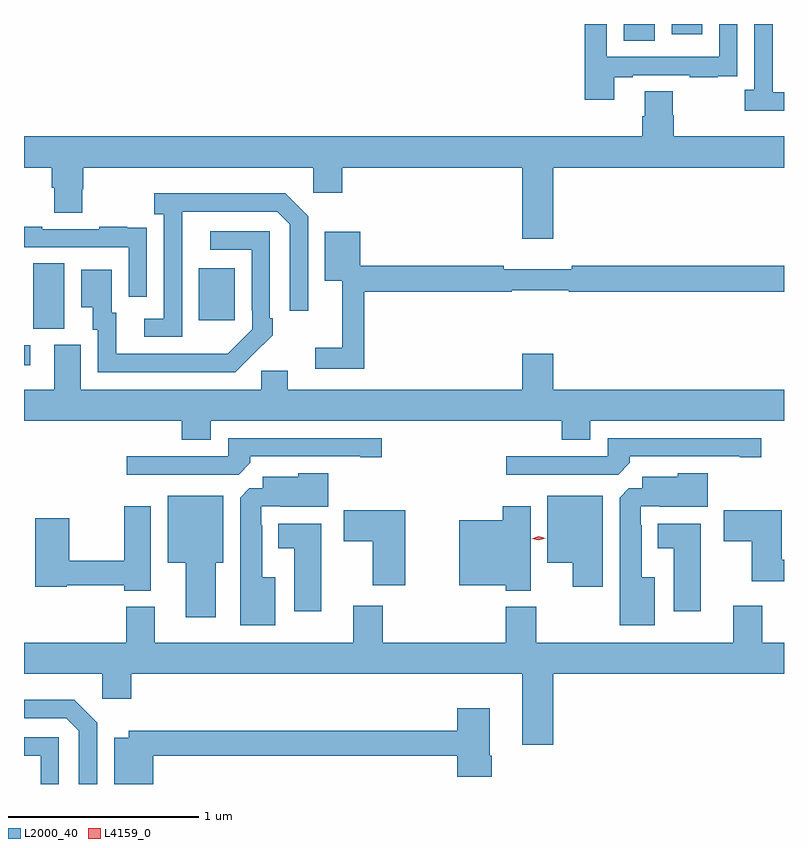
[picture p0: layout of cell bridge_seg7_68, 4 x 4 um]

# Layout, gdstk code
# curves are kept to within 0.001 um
import gdstk
lib = gdstk.Library(unit=1e-6, precision=1e-09)
def R(c, l, rs):  # rectangles x0, y0, x1, y1
    for r in rs: c.add(gdstk.rectangle(r[:2], r[2:], *l))
def P(c, l, *ps):  # polygons
    for p in ps: c.add(gdstk.Polygon(p, *l))
L2000_40 = (2000, 40)
L4159_0 = (4159, 0)

bridge_seg7_68 = lib.new_cell('bridge_seg7_68')
R(bridge_seg7_68, L2000_40, [(1085.462,1027.548,1085.494,1027.653), (1085.51,1027.741,1085.674,1028.084), (1086.383,1027.785,1086.571,1028.059), (1088.618,1029.256,1088.782,1029.344), (1088.87,1029.291,1089.031,1029.344)])
P(bridge_seg7_68, L2000_40, [(1089.462,1028.985),(1089.403,1028.985),(1089.403,1029.185),(1089.402,1029.185),(1089.402,1029.344),(1089.306,1029.344),(1089.306,1028.998),(1089.255,1028.998),(1089.255,1028.888),(1089.462,1028.888)],
  [(1088.569,1029.063),(1088.665,1029.063),(1088.665,1029.075),(1088.965,1029.075),(1088.965,1029.063),(1089.113,1029.063),(1089.113,1029.069),(1089.215,1029.069),(1089.215,1029.178),(1089.216,1029.178),(1089.216,1029.344),(1089.12,1029.344),(1089.12,1029.171),(1088.529,1029.171),(1088.529,1029.344),(1088.413,1029.344),(1088.413,1028.946),(1088.569,1028.946)],
  [(1088.248,1028.588),(1089.462,1028.588),(1089.462,1028.752),(1088.882,1028.752),(1088.882,1028.865),(1088.877,1028.865),(1088.877,1028.99),(1088.729,1028.99),(1088.729,1028.858),(1088.717,1028.858),(1088.717,1028.752),(1085.462,1028.752),(1085.462,1028.588),(1085.609,1028.588),(1085.609,1028.482),(1085.621,1028.482),(1085.621,1028.35),(1085.769,1028.35),(1085.769,1028.475),(1085.774,1028.475),(1085.774,1028.588),(1086.984,1028.588),(1086.984,1028.457),(1087.136,1028.457),(1087.136,1028.588),(1088.084,1028.588),(1088.084,1028.214),(1088.248,1028.214)],
  [(1086.294,1028.155),(1086.295,1028.355),(1086.795,1028.355),(1086.861,1028.289),(1086.861,1027.836),(1086.957,1027.836),(1086.957,1028.331),(1086.836,1028.452),(1086.147,1028.452),(1086.147,1028.342),(1086.198,1028.342),(1086.198,1027.794),(1086.096,1027.794),(1086.096,1027.698),(1086.294,1027.698)],
  [(1086.108,1028.162),(1086.107,1028.162),(1086.107,1028.271),(1086.005,1028.271),(1086.005,1028.278),(1085.857,1028.278),(1085.857,1028.265),(1085.557,1028.265),(1085.557,1028.278),(1085.462,1028.278),(1085.462,1028.169),(1086.012,1028.169),(1086.012,1027.908),(1086.108,1027.908)],
  [(1086.665,1027.603),(1086.666,1027.602),(1086.771,1027.707),(1086.771,1027.795),(1086.756,1027.795),(1086.756,1028.253),(1086.441,1028.253),(1086.441,1028.157),(1086.66,1028.157),(1086.66,1027.837),(1086.663,1027.837),(1086.663,1027.737),(1086.535,1027.609),(1085.947,1027.608),(1085.947,1027.824),(1085.923,1027.824),(1085.923,1028.05),(1085.762,1028.05),(1085.762,1027.853),(1085.825,1027.853),(1085.825,1027.734),(1085.85,1027.734),(1085.85,1027.512),(1086.574,1027.512)],
  [(1087.253,1027.936),(1088.03,1027.936),(1088.03,1027.944),(1088.33,1027.944),(1088.33,1027.936),(1089.462,1027.936),(1089.462,1028.072),(1088.344,1028.072),(1088.344,1028.053),(1087.988,1028.053),(1087.988,1028.072),(1087.233,1028.072),(1087.233,1028.251),(1087.046,1028.251),(1087.046,1027.994),(1087.136,1027.994),(1087.136,1027.639),(1086.996,1027.639),(1086.996,1027.53),(1087.253,1027.53)],
  [(1086.445,1027.256),(1088.291,1027.256),(1088.291,1027.157),(1088.443,1027.157),(1088.443,1027.256),(1089.462,1027.256),(1089.462,1027.42),(1088.248,1027.42),(1088.248,1027.609),(1088.084,1027.609),(1088.084,1027.42),(1086.85,1027.42),(1086.85,1027.518),(1086.711,1027.518),(1086.711,1027.42),(1085.761,1027.42),(1085.761,1027.656),(1085.621,1027.656),(1085.621,1027.42),(1085.462,1027.42),(1085.462,1027.256),(1086.293,1027.256),(1086.293,1027.157),(1086.445,1027.157)],
  [(1086.653,1027.034),(1086.653,1027.068),(1087.232,1027.068),(1087.232,1027.063),(1087.345,1027.063),(1087.345,1027.164),(1086.537,1027.164),(1086.537,1027.068),(1086.003,1027.068),(1086.003,1026.972),(1086.591,1026.972)],
  [(1088.651,1027.034),(1088.651,1027.068),(1089.23,1027.068),(1089.23,1027.063),(1089.343,1027.063),(1089.343,1027.164),(1088.535,1027.164),(1088.535,1027.068),(1088.001,1027.068),(1088.001,1026.972),(1088.589,1026.972)],
  [(1086.784,1026.433),(1086.715,1026.433),(1086.715,1026.707),(1086.711,1026.707),(1086.711,1026.807),(1086.811,1026.807),(1086.811,1026.803),(1087.063,1026.803),(1087.063,1026.979),(1086.906,1026.979),(1086.906,1026.961),(1086.719,1026.961),(1086.719,1026.9),(1086.648,1026.9),(1086.599,1026.851),(1086.599,1026.179),(1086.784,1026.179)],
  [(1088.782,1026.433),(1088.713,1026.433),(1088.713,1026.707),(1088.709,1026.707),(1088.709,1026.807),(1088.809,1026.807),(1088.809,1026.803),(1089.061,1026.803),(1089.061,1026.979),(1088.904,1026.979),(1088.904,1026.961),(1088.717,1026.961),(1088.717,1026.9),(1088.646,1026.9),(1088.597,1026.851),(1088.597,1026.179),(1088.782,1026.179)],
  [(1088.509,1026.862),(1088.216,1026.862),(1088.216,1026.509),(1088.351,1026.509),(1088.351,1026.381),(1088.509,1026.381)],
  [(1086.472,1026.509),(1086.511,1026.509),(1086.511,1026.862),(1086.218,1026.862),(1086.218,1026.509),(1086.314,1026.509),(1086.314,1026.222),(1086.472,1026.222)],
  [(1086.13,1026.805),(1085.989,1026.805),(1085.989,1026.518),(1085.7,1026.518),(1085.7,1026.742),(1085.522,1026.742),(1085.522,1026.382),(1085.688,1026.382),(1085.688,1026.39),(1085.989,1026.39),(1085.989,1026.362),(1086.13,1026.362)],
  [(1088.128,1026.805),(1087.982,1026.805),(1087.982,1026.733),(1087.754,1026.733),(1087.754,1026.389),(1087.998,1026.389),(1087.998,1026.362),(1088.128,1026.362)],
  [(1089.462,1026.523),(1089.451,1026.523),(1089.451,1026.784),(1089.144,1026.784),(1089.144,1026.622),(1089.293,1026.622),(1089.293,1026.411),(1089.462,1026.411)],
  [(1087.468,1026.784),(1087.146,1026.784),(1087.146,1026.622),(1087.298,1026.622),(1087.298,1026.389),(1087.468,1026.389)],
  [(1087.027,1026.715),(1086.8,1026.715),(1086.8,1026.584),(1086.884,1026.584),(1086.884,1026.252),(1087.027,1026.252)],
  [(1089.025,1026.715),(1088.798,1026.715),(1088.798,1026.584),(1088.882,1026.584),(1088.882,1026.252),(1089.025,1026.252)],
  [(1088.248,1025.924),(1089.462,1025.924),(1089.462,1026.088),(1089.347,1026.088),(1089.347,1026.283),(1089.194,1026.283),(1089.194,1026.088),(1088.157,1026.088),(1088.157,1026.277),(1087.997,1026.277),(1087.997,1026.088),(1087.349,1026.088),(1087.349,1026.283),(1087.196,1026.283),(1087.196,1026.088),(1086.151,1026.088),(1086.151,1026.277),(1085.999,1026.277),(1085.999,1026.088),(1085.462,1026.088),(1085.462,1025.924),(1085.874,1025.924),(1085.874,1025.793),(1086.026,1025.793),(1086.026,1025.924),(1088.084,1025.924),(1088.084,1025.55),(1088.248,1025.55)],
  [(1085.847,1025.667),(1085.726,1025.788),(1085.462,1025.788),(1085.462,1025.691),(1085.685,1025.691),(1085.751,1025.625),(1085.751,1025.344),(1085.847,1025.344)],
  [(1086.143,1025.494),(1087.742,1025.494),(1087.742,1025.382),(1087.925,1025.382),(1087.925,1025.494),(1087.912,1025.494),(1087.912,1025.743),(1087.742,1025.743),(1087.742,1025.623),(1086.012,1025.623),(1086.012,1025.587),(1085.936,1025.587),(1085.936,1025.344),(1086.143,1025.344)],
  [(1085.646,1025.589),(1085.462,1025.589),(1085.462,1025.493),(1085.55,1025.493),(1085.55,1025.344),(1085.646,1025.344)])
P(bridge_seg7_68, L4159_0, [(1088.172,1026.627),(1088.135,1026.636),(1088.135,1026.636),(1088.135,1026.636),(1088.172,1026.647),(1088.208,1026.638),(1088.209,1026.638),(1088.208,1026.637)])

lib.write_gds('bridge_seg7_68.gds')
